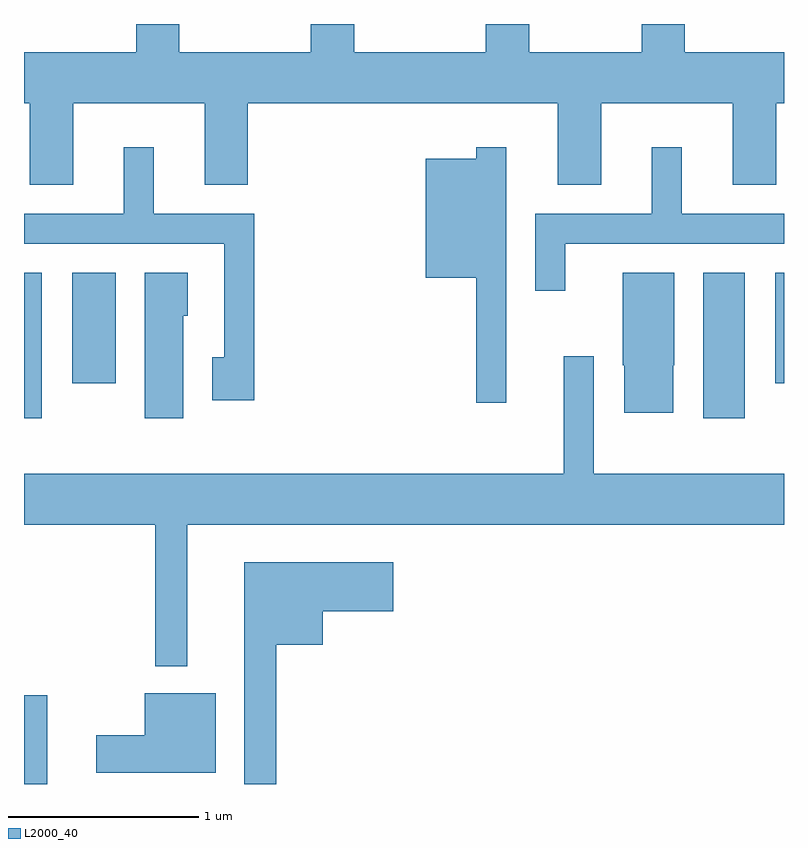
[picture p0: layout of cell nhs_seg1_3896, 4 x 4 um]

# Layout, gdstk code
import gdstk
lib = gdstk.Library(unit=1e-6, precision=1e-09)
def R(c, l, rs):  # rectangles x0, y0, x1, y1
    for r in rs: c.add(gdstk.rectangle(r[:2], r[2:], *l))
def P(c, l, *ps):  # polygons
    for p in ps: c.add(gdstk.Polygon(p, *l))
L2000_40 = (2000, 40)

nhs_seg1_3896 = lib.new_cell('nhs_seg1_3896')
R(nhs_seg1_3896, L2000_40, [(301.611,953.712,301.734,954.179), (301.611,955.636,301.704,956.404), (305.186,955.636,305.404,956.404), (301.866,955.821,302.094,956.404), (305.566,955.821,305.611,956.404)])
P(nhs_seg1_3896, L2000_40, [(305.089,957.712),(304.861,957.712),(304.861,957.564),(304.269,957.564),(304.269,957.712),(304.041,957.712),(304.041,957.564),(303.349,957.564),(303.349,957.712),(303.121,957.712),(303.121,957.564),(302.429,957.564),(302.429,957.712),(302.201,957.712),(302.201,957.564),(301.611,957.564),(301.611,957.296),(301.641,957.296),(301.641,956.866),(301.869,956.866),(301.869,957.296),(302.561,957.296),(302.561,956.866),(302.789,956.866),(302.789,957.296),(304.421,957.296),(304.421,956.866),(304.649,956.866),(304.649,957.296),(305.341,957.296),(305.341,956.866),(305.569,956.866),(305.569,957.296),(305.611,957.296),(305.611,957.564),(305.089,957.564)],
  [(304.149,957.063),(303.991,957.063),(303.991,957.004),(303.726,957.004),(303.726,956.376),(303.991,956.376),(303.991,955.718),(304.149,955.718)],
  [(304.459,956.556),(305.611,956.556),(305.611,956.714),(305.074,956.714),(305.074,957.063),(304.916,957.063),(304.916,956.714),(304.301,956.714),(304.301,956.308),(304.459,956.308)],
  [(302.824,956.714),(302.294,956.714),(302.294,957.063),(302.136,957.063),(302.136,956.714),(301.611,956.714),(301.611,956.556),(302.666,956.556),(302.666,955.959),(302.601,955.959),(302.601,955.731),(302.824,955.731)],
  [(302.449,956.176),(302.474,956.176),(302.474,956.404),(302.246,956.404),(302.246,955.636),(302.449,955.636)],
  [(305.029,955.915),(305.034,955.915),(305.034,956.404),(304.761,956.404),(304.761,955.915),(304.771,955.915),(304.771,955.666),(305.029,955.666)],
  [(302.469,955.076),(305.611,955.076),(305.611,955.344),(304.609,955.344),(304.609,955.963),(304.451,955.963),(304.451,955.344),(301.611,955.344),(301.611,955.076),(302.301,955.076),(302.301,954.333),(302.469,954.333)],
  [(302.939,954.446),(303.184,954.446),(303.184,954.621),(303.554,954.621),(303.554,954.879),(302.771,954.879),(302.771,953.712),(302.939,953.712)],
  [(302.619,954.189),(302.246,954.189),(302.246,953.969),(301.991,953.969),(301.991,953.771),(302.619,953.771)])

lib.write_gds('nhs_seg1_3896.gds')
